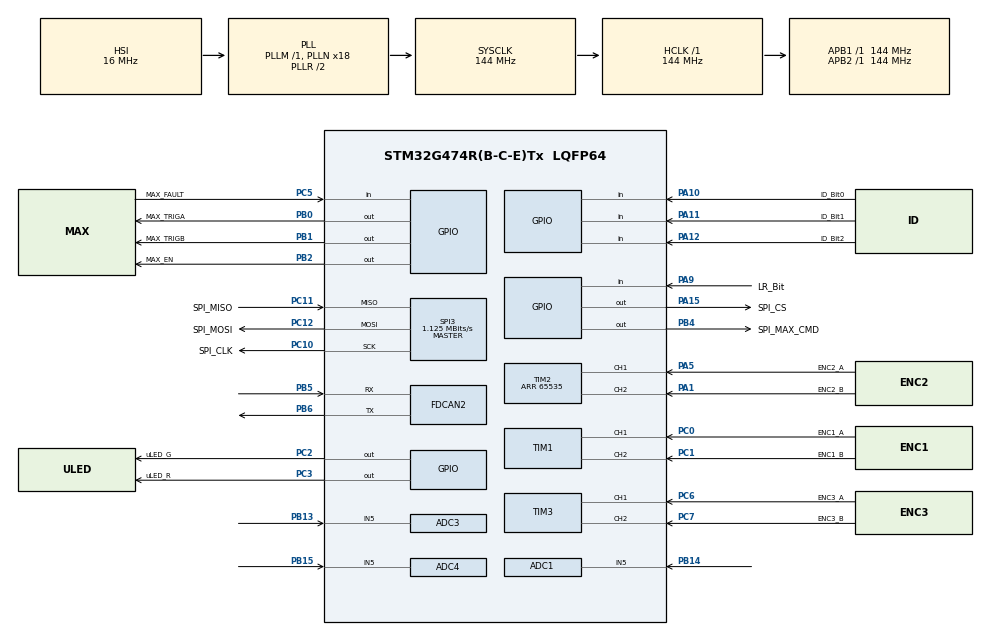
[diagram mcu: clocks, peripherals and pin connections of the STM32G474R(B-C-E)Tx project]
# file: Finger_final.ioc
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ADC1.Channel-1\#ChannelRegularConversion=ADC_CHANNEL_5
ADC1.NbrOfConversionFlag=1
ADC1.OffsetNumber-1\#ChannelRegularConversion=ADC_OFFSET_NONE
ADC1.Rank-1\#ChannelRegularConversion=1
ADC1.SamplingTime-1\#ChannelRegularConversion=ADC_SAMPLETIME_2CYCLES_5
ADC1.master=1
ADC3.Channel-0\#ChannelRegularConversion=ADC_CHANNEL_5
ADC3.NbrOfConversionFlag=1
ADC3.OffsetNumber-0\#ChannelRegularConversion=ADC_OFFSET_NONE
ADC3.Rank-0\#ChannelRegularConversion=1
ADC3.SamplingTime-0\#ChannelRegularConversion=ADC_SAMPLETIME_2CYCLES_5
ADC3.master=1
ADC4.Channel-0\#ChannelRegularConversion=ADC_CHANNEL_5
ADC4.Channel-1\#ChannelRegularConversion=ADC_CHANNEL_VREFINT
ADC4.ContinuousConvMode=ENABLE
ADC4.DMAContinuousRequests=ENABLE
ADC4.NbrOfConversion=2
ADC4.NbrOfConversionFlag=1
ADC4.OffsetNumber-0\#ChannelRegularConversion=ADC_OFFSET_NONE
ADC4.OffsetNumber-1\#ChannelRegularConversion=ADC_OFFSET_NONE
ADC4.Rank-0\#ChannelRegularConversion=1
ADC4.Rank-1\#ChannelRegularConversion=2
ADC4.SamplingTime-0\#ChannelRegularConversion=ADC_SAMPLETIME_24CYCLES_5
ADC4.SamplingTime-1\#ChannelRegularConversion=ADC_SAMPLETIME_24CYCLES_5
Dma.ADC4.0.Direction=DMA_PERIPH_TO_MEMORY
Dma.ADC4.0.EventEnable=DISABLE
Dma.ADC4.0.Instance=DMA1_Channel1
Dma.ADC4.0.MemDataAlignment=DMA_MDATAALIGN_WORD
Dma.ADC4.0.MemInc=DMA_MINC_ENABLE
Dma.ADC4.0.Mode=DMA_CIRCULAR
Dma.ADC4.0.PeriphDataAlignment=DMA_PDATAALIGN_WORD
Dma.ADC4.0.PeriphInc=DMA_PINC_DISABLE
Dma.ADC4.0.Polarity=HAL_DMAMUX_REQ_GEN_RISING
Dma.ADC4.0.Priority=DMA_PRIORITY_LOW
Dma.ADC4.0.RequestNumber=1
Dma.ADC4.0.SignalID=NONE
Dma.ADC4.0.SyncEnable=DISABLE
Dma.ADC4.0.SyncPolarity=HAL_DMAMUX_SYNC_NO_EVENT
Dma.ADC4.0.SyncRequestNumber=1
Dma.ADC4.0.SyncSignalID=NONE
Dma.Request0=ADC4
FDCAN2.CalculateBaudRateNominal=999999
FDCAN2.CalculateTimeBitNominal=1000
FDCAN2.CalculateTimeQuantumNominal=41.66666666666667
FDCAN2.DataPrescaler=6
FDCAN2.DataSyncJumpWidth=9
FDCAN2.DataTimeSeg1=15
FDCAN2.DataTimeSeg2=9
FDCAN2.FrameFormat=FDCAN_FRAME_FD_NO_BRS
FDCAN2.NominalPrescaler=6
FDCAN2.NominalSyncJumpWidth=2
FDCAN2.NominalTimeSeg1=17
FDCAN2.NominalTimeSeg2=6
FDCAN2.StdFiltersNbr=1
Mcu.Family=STM32G4
Mcu.Name=STM32G474R(B-C-E)Tx
Mcu.Package=LQFP64
NVIC.DMA1_Channel1_IRQn=true\:0\:0\:false\:false\:true\:false\:true\:true
NVIC.FDCAN2_IT0_IRQn=true\:0\:0\:false\:false\:true\:true\:true\:true
NVIC.PriorityGroup=NVIC_PRIORITYGROUP_4
NVIC.TIM1_CC_IRQn=true\:0\:0\:false\:false\:true\:true\:true\:true
NVIC.TIM2_IRQn=true\:0\:0\:false\:false\:true\:true\:true\:true
NVIC.TIM3_IRQn=true\:0\:0\:false\:false\:true\:true\:true\:true
NVIC.TIM5_IRQn=true\:0\:0\:false\:false\:true\:true\:true\:true
NVIC.TIM6_DAC_IRQn=true\:0\:0\:false\:false\:true\:true\:true\:true
PA1.GPIO_Label=ENC2_B
PA1.Signal=S_TIM2_CH2
PA10.GPIO_Label=ID_Bit0
PA10.Signal=GPIO_Input
PA11.GPIO_Label=ID_Bit1
PA11.Signal=GPIO_Input
PA12.GPIO_Label=ID_Bit2
PA12.Signal=GPIO_Input
PA13.GPIO_Label=SWDIO
PA13.Mode=Serial_Wire
PA13.Signal=SYS_JTMS-SWDIO
PA14.GPIO_Label=SWCLK
PA14.Mode=Serial_Wire
PA14.Signal=SYS_JTCK-SWCLK
PA15.GPIO_Label=SPI_CS
PA15.Signal=GPIO_Output
PA5.GPIO_Label=ENC2_A
PA5.Signal=S_TIM2_CH1
PA9.GPIO_Label=LR_Bit
PA9.Signal=GPIO_Input
PB0.GPIO_Label=MAX_TRIGA
PB0.Signal=GPIO_Output
PB1.GPIO_Label=MAX_TRIGB
PB1.Signal=GPIO_Output
PB13.Mode=IN5-Single-Ended
PB13.Signal=ADC3_IN5
PB14.Mode=IN5-Single-Ended
PB14.Signal=ADC1_IN5
PB15.Mode=IN5-Single-Ended
PB15.Signal=ADC4_IN5
PB2.GPIO_Label=MAX_EN
PB2.Signal=GPIO_Output
PB4.GPIO_Label=SPI_MAX_CMD
PB4.Signal=GPIO_Output
PB5.Mode=FDCAN_Activate
PB5.Signal=FDCAN2_RX
PB6.Mode=FDCAN_Activate
PB6.Signal=FDCAN2_TX
PC0.GPIO_Label=ENC1_A
PC0.Signal=S_TIM1_CH1
PC1.GPIO_Label=ENC1_B
PC1.Signal=S_TIM1_CH2
PC10.GPIO_Label=SPI_CLK
PC10.Mode=Full_Duplex_Master
PC10.Signal=SPI3_SCK
PC11.GPIO_Label=SPI_MISO
PC11.Mode=Full_Duplex_Master
PC11.Signal=SPI3_MISO
PC12.GPIO_Label=SPI_MOSI
PC12.Mode=Full_Duplex_Master
PC12.Signal=SPI3_MOSI
PC2.GPIO_Label=uLED_G
PC2.Signal=GPIO_Output
PC3.GPIO_Label=uLED_R
PC3.Signal=GPIO_Output
PC5.GPIO_Label=MAX_FAULT
PC5.Signal=GPIO_Input
PC6.GPIO_Label=ENC3_A
PC6.Signal=S_TIM3_CH1
PC7.GPIO_Label=ENC3_B
PC7.Signal=S_TIM3_CH2
PF0-OSC_IN.Mode=HSE-External-Oscillator
PF0-OSC_IN.Signal=RCC_OSC_IN
PF1-OSC_OUT.Mode=HSE-External-Oscillator
PF1-OSC_OUT.Signal=RCC_OSC_OUT
ProjectManager.HeapSize=0x200
ProjectManager.StackSize=0x400
ProjectManager.TargetToolchain=STM32CubeIDE
RCC.ADC12Freq_Value=144000000
RCC.ADC345Freq_Value=144000000
RCC.AHBFreq_Value=144000000
RCC.APB1Freq_Value=144000000
RCC.APB1TimFreq_Value=144000000
RCC.APB2Freq_Value=144000000
RCC.APB2TimFreq_Value=144000000
RCC.CortexFreq_Value=144000000
RCC.EXTERNAL_CLOCK_VALUE=12288000
RCC.HCLKFreq_Value=144000000
RCC.HSE_VALUE=8000000
RCC.HSI48_VALUE=48000000
RCC.HSI_VALUE=16000000
RCC.LSE_VALUE=32768
RCC.PLLN=18
RCC.PLLQ=RCC_PLLQ_DIV6
RCC.SYSCLKFreq_VALUE=144000000
RCC.SYSCLKSource=RCC_SYSCLKSOURCE_PLLCLK
RCC.USBFreq_Value=48000000
RCC.VCOOutputFreq_Value=288000000
SH.S_TIM1_CH1.0=TIM1_CH1,Encoder_Interface
SH.S_TIM1_CH2.0=TIM1_CH2,Encoder_Interface
SH.S_TIM2_CH1.0=TIM2_CH1,Encoder_Interface
SH.S_TIM2_CH2.0=TIM2_CH2,Encoder_Interface
SH.S_TIM3_CH1.0=TIM3_CH1,Encoder_Interface
SH.S_TIM3_CH2.0=TIM3_CH2,Encoder_Interface
SPI3.BaudRatePrescaler=SPI_BAUDRATEPRESCALER_128
SPI3.CalculateBaudRate=1.125 MBits/s
SPI3.DataSize=SPI_DATASIZE_8BIT
SPI3.Direction=SPI_DIRECTION_2LINES
SPI3.Mode=SPI_MODE_MASTER
SPI3.VirtualType=VM_MASTER
TIM1.AutoReloadPreload=TIM_AUTORELOAD_PRELOAD_ENABLE
TIM1.EncoderMode=TIM_ENCODERMODE_TI12
TIM1.IC1Polarity=TIM_ICPOLARITY_FALLING
TIM1.IC2Polarity=TIM_ICPOLARITY_FALLING
TIM2.AutoReloadPreload=TIM_AUTORELOAD_PRELOAD_ENABLE
TIM2.EncoderMode=TIM_ENCODERMODE_TI12
TIM2.IC1Polarity=TIM_ICPOLARITY_FALLING
TIM2.IC2Polarity=TIM_ICPOLARITY_FALLING
TIM2.PeriodNoDither=65535
TIM3.AutoReloadPreload=TIM_AUTORELOAD_PRELOAD_ENABLE
TIM3.EncoderMode=TIM_ENCODERMODE_TI12
TIM3.IC1Polarity=TIM_ICPOLARITY_FALLING
TIM3.IC2Polarity=TIM_ICPOLARITY_FALLING
TIM5.AutoReloadPreload=TIM_AUTORELOAD_PRELOAD_ENABLE
TIM5.PeriodNoDither=144
TIM5.Prescaler=50
TIM6.AutoReloadPreload=TIM_AUTORELOAD_PRELOAD_ENABLE
TIM6.PeriodNoDither=143
TIM6.Prescaler=99
VP_ADC4_Vref_Input.Mode=IN-Vrefint
VP_SYS_VS_DBSignals.Mode=DisableDeadBatterySignals
VP_TIM5_VS_ClockSourceINT.Mode=Internal
VP_TIM6_VS_ClockSourceINT.Mode=Enable_Timer
board=custom

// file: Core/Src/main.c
/* USER CODE BEGIN Header */
/**
  ******************************************************************************
  * @file           : main.c
  * @brief          : Main program body
  ******************************************************************************
  * @attention
  *
  * Copyright (c) 2023 STMicroelectronics.
  * All rights reserved.
  *
  * This software is licensed under terms that can be found in the LICENSE file
  * in the root directory of this software component.
  * If no LICENSE file comes with this software, it is provided AS-IS.
  *
  ******************************************************************************
  */
/* USER CODE END Header */
#include "main.h"
#include "adc.h"
#include "dma.h"
#include "fdcan.h"
#include "spi.h"
#include "tim.h"
#include "gpio.h"

/* USER CODE BEGIN Includes */
#include "params.h"

#include "fsm.h"
/* USER CODE END Includes */

/* USER CODE BEGIN PM */
#define VERSION_NUM 1.0f
/* USER CODE END PM */

/* USER CODE BEGIN PV */
//strcuts
MAX22200_StatusReg status_Reg;
MAX22200_status stats_;
pid_control pid1;
pid_control pid2;
pid_control pid3;
pid_control* pids[3];
Encoder encoders[3];
CFG_CH_Register regs[6];
Motor m1;
Motor m2;
Motor m3;
Motor* motors[3] = {&m1, &m2, &m3};
FSMStruct state;

/* USER CODE END PV */

void SystemClock_Config(void);

int main(void)
{

  /* MCU Configuration--------------------------------------------------------*/

  /* Reset of all peripherals, Initializes the Flash interface and the Systick. */
  HAL_Init();

  /* Configure the system clock */
  SystemClock_Config();

  /* Initialize all configured peripherals */
  MX_GPIO_Init();
  MX_DMA_Init();
  MX_ADC1_Init();
  MX_ADC3_Init();
  MX_ADC4_Init();
  MX_FDCAN2_Init();
  MX_SPI3_Init();
  MX_TIM1_Init();
  MX_TIM2_Init();
  MX_TIM3_Init();
  MX_TIM6_Init();
  MX_TIM5_Init();
  /* USER CODE BEGIN 2 */
//  HAL_Delay(40000);
  init_fsm();

  /* USER CODE END 2 */

  /* Infinite loop */
  while (1)
  {

  }
}

void SystemClock_Config(void)
{
  RCC_OscInitTypeDef RCC_OscInitStruct = {0};
  RCC_ClkInitTypeDef RCC_ClkInitStruct = {0};

  /** Configure the main internal regulator output voltage
  */
  HAL_PWREx_ControlVoltageScaling(PWR_REGULATOR_VOLTAGE_SCALE1);

  /** Initializes the RCC Oscillators according to the specified parameters
  * in the RCC_OscInitTypeDef structure.
  */
  RCC_OscInitStruct.OscillatorType = RCC_OSCILLATORTYPE_HSI;
  RCC_OscInitStruct.HSIState = RCC_HSI_ON;
  RCC_OscInitStruct.HSICalibrationValue = RCC_HSICALIBRATION_DEFAULT;
  RCC_OscInitStruct.PLL.PLLState = RCC_PLL_ON;
  RCC_OscInitStruct.PLL.PLLSource = RCC_PLLSOURCE_HSI;
  RCC_OscInitStruct.PLL.PLLM = RCC_PLLM_DIV1;
  RCC_OscInitStruct.PLL.PLLN = 18;
  RCC_OscInitStruct.PLL.PLLP = RCC_PLLP_DIV2;
  RCC_OscInitStruct.PLL.PLLQ = RCC_PLLQ_DIV6;
  RCC_OscInitStruct.PLL.PLLR = RCC_PLLR_DIV2;
  if (HAL_RCC_OscConfig(&RCC_OscInitStruct) != HAL_OK)
  {
    Error_Handler();
  }

  /** Initializes the CPU, AHB and APB buses clocks
  */
  RCC_ClkInitStruct.ClockType = RCC_CLOCKTYPE_HCLK|RCC_CLOCKTYPE_SYSCLK
                              |RCC_CLOCKTYPE_PCLK1|RCC_CLOCKTYPE_PCLK2;
  RCC_ClkInitStruct.SYSCLKSource = RCC_SYSCLKSOURCE_PLLCLK;
  RCC_ClkInitStruct.AHBCLKDivider = RCC_SYSCLK_DIV1;
  RCC_ClkInitStruct.APB1CLKDivider = RCC_HCLK_DIV1;
  RCC_ClkInitStruct.APB2CLKDivider = RCC_HCLK_DIV1;

  if (HAL_RCC_ClockConfig(&RCC_ClkInitStruct, FLASH_LATENCY_4) != HAL_OK)
  {
    Error_Handler();
  }
}

void Error_Handler(void)
{
  __disable_irq();
  while (1)
  {
  }
}
